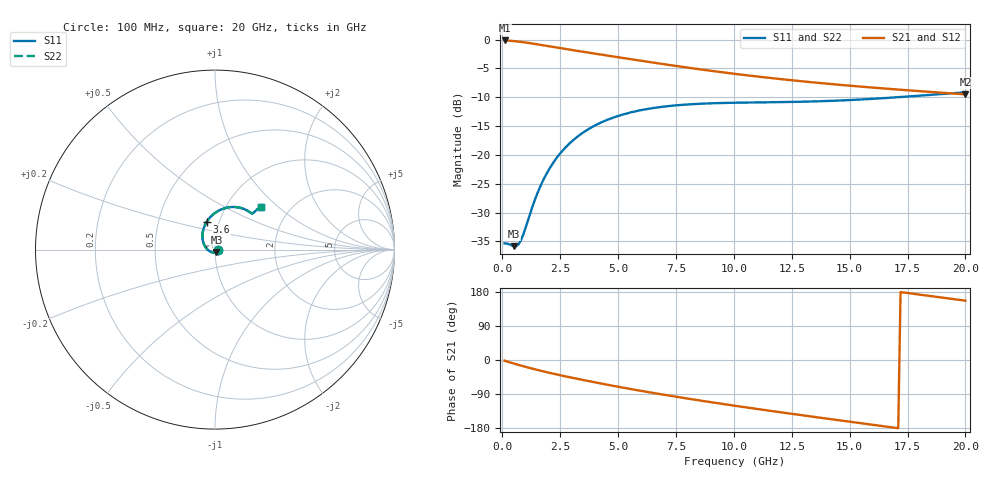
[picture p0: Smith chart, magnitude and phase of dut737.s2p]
! Touchstone file exported from HFSS 2024.1.0
!  File:  C:/UserFiles/LocalFiles/RDL_TSV_Batchsim/temp_RDL_TSV_737_1779894585.aedt
!  Generated:  11:21:25 PM May 27, 2026
!  Design:  RDL_TSV
!  Project:  temp_RDL_TSV_737_1779894585
!  Setup:  Setup1
!  Solution:  Sweep
! Variables:
!  dtsv = 14.86um
!  hbump = 3um
!  htsv = 74.79um
!  ldown = 191.95um
!  lrdl = 523.66um
!  p = 40
!  p1 = 47.79um
!  rhole = 10um
!  subl = 2670.49um
!  t = 450um
!  tdown = 2.09um
!  trdl = 3.18um
!  viad = 10um
!  wdown = 28.55um
!  wrdl = 17.3um
!  xbump = 18um
# GHz S MA R 50.000000
! Terminal data exported
! Port[1] = TM1_1_T1
! Port[2] = TM1_4_T1
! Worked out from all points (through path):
!   200 points, 100 MHz to 20 GHz, reference 50 ohm
!   highest |S21| = -0.16 dB at 100 MHz (marker M1); lowest = -9.5 dB at 20 GHz (marker M2)
!   group delay of S21, straight-line fit = 26.7 ps
!   lowest |S11| = -35.8 dB at 500 MHz (marker M3), VSWR 1.03, Z = 50.8 - j1.42 ohm
!   |S11| at or under -10 dB: start of sweep to 17.08 GHz
!   |S22| runs from -35.8 to -9.2 dB; largest |S21 - S12| = 1e-14
!   S11 on the Smith chart (normalised r, x): 100 MHz: 1.03, -0.01; 3.6 GHz: 0.87, +0.28; 20 GHz: 1.44, +0.78
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0.1  0.01709 -9.4  0.9822 -1.9  0.9822 -1.9  0.01709 -9.4
! Gamma 0 0 0 0
! Port Impedance 50 0 50 0
0.5  0.01616 -59.7  0.9704 -9.4  0.9704 -9.4  0.01617 -59.7
0.7  0.01674 -93.4  0.9609 -12.9  0.9609 -12.9  0.01675 -93.3
0.8  0.01807 -110.4  0.9555 -14.7  0.9555 -14.7  0.01807 -110.4
0.9  0.02024 -126.2  0.9497 -16.4  0.9497 -16.4  0.02023 -126.1
1.5  0.04559 175.1  0.9104 -26.0  0.9104 -26.0  0.04553 175.2
1.8  0.0622 158.9  0.8897 -30.5  0.8897 -30.5  0.06212 159.0
2.1  0.07961 146.4  0.8693 -34.7  0.8693 -34.7  0.0795 146.4
2.7  0.1143 127.2  0.8304 -42.8  0.8304 -42.8  0.1142 127.2
3.5  0.1567 108.7  0.7828 -52.9  0.7828 -52.9  0.1564 108.7
3.6  0.1615 106.7  0.7771 -54.1  0.7771 -54.1  0.1613 106.7
4.3  0.1923 94.6  0.7388 -62.5  0.7388 -62.5  0.192 94.6
5  0.2175 84.8  0.7026 -70.6  0.7026 -70.6  0.2171 84.8
5.8  0.2399 75.5  0.6638 -79.4  0.6638 -79.4  0.2394 75.5
6.8  0.2595 66.3  0.6191 -89.9  0.6191 -89.9  0.259 66.3
8.4  0.2766 55.8  0.5567 -105.6  0.5567 -105.6  0.276 55.8
10.1  0.2834 48.9  0.5026 -121.2  0.5026 -121.2  0.2828 48.9
11.7  0.2862 45.5  0.4613 -135.2  0.4613 -135.2  0.2855 45.5
13.4  0.2905 44.0  0.4258 -149.6  0.4258 -149.6  0.2899 44.1
15  0.2987 43.8  0.3982 -162.8  0.3982 -162.8  0.2981 43.9
16.7  0.3125 43.8  0.3735 -176.7  0.3735 -176.7  0.312 43.9
20  0.3488 42.7  0.3351 156.6  0.3351 156.6  0.3485 42.8
